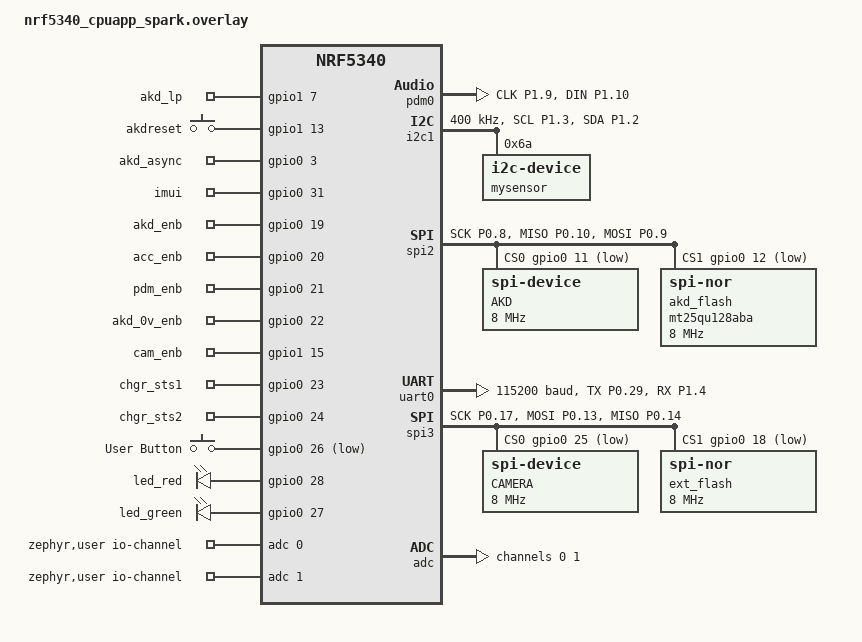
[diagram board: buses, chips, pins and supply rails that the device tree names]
&qspi {
    status = "disabled";
};
/* Disable default LEDs */
&led0 {
    status = "disabled";
};

&led1 {
    status = "disabled";
};

&led2 {
    status = "disabled";
};

&led3 {
    status = "disabled";
};

/* Disable default buttons */
&button0 {
    status = "disabled";
};

&button1 {
    status = "disabled";
};

&button2 {
    status = "disabled";
};

&button3 {
    status = "disabled";
};
&gpio_fwd {
    status = "disabled";
};

&pwm0 {
    status = "disabled";
};
&uicr {
    nfct-pins-as-gpios;
};
/* Disable the entire gpio-keys and leds nodes if needed */
/ {
    buttons {
        status = "disabled";
    };
    
    leds {
        status = "disabled";
    };
};
&pinctrl {
    spi2_default: spi2_default {
        group1 {
            psels = <NRF_PSEL(SPIM_SCK, 0, 8)>,
                    <NRF_PSEL(SPIM_MISO, 0, 10)>,
                    <NRF_PSEL(SPIM_MOSI, 0, 9)>;
                    /* ADD THIS - disable trace function on these pins */
                    nordic,drive-mode = <NRF_DRIVE_S0S1>;
        };
    };

    spi2_sleep: spi2_sleep {
        group1 {
            psels = <NRF_PSEL(SPIM_SCK, 0, 8)>,
                    <NRF_PSEL(SPIM_MISO, 0, 10)>,
                    <NRF_PSEL(SPIM_MOSI, 0, 9)>;
            low-power-enable;
        };
    };

	uart0_default_alt: uart0_default_alt {
      group1 {
         psels = <NRF_PSEL(UART_TX, 0, 29)>,
                 <NRF_PSEL(UART_RX, 1, 4)>;
      };
   };

   uart0_sleep_alt: uart0_sleep_alt {
      group1 {
         psels = <NRF_PSEL(UART_TX, 0, 29)>,
                 <NRF_PSEL(UART_RX, 1, 4)>;
         low-power-enable;
      };
   };	

   pdm0_default_alt: pdm0_default_alt {
		group1 {
			psels = <NRF_PSEL(PDM_CLK, 1, 9)>,
				    <NRF_PSEL(PDM_DIN, 1, 10)>;
		};
	};

    /omit-if-no-ref/ i2c1_default: i2c1_default {
		group1  {
			psels = <NRF_PSEL(TWIM_SCL, 1, 3)>,
					<NRF_PSEL(TWIM_SDA, 1, 2)>;
		};
	};

	/omit-if-no-ref/ i2c1_sleep: i2c1_sleep {
		group1  {
			psels = <NRF_PSEL(TWIM_SCL, 1, 3)>,
					<NRF_PSEL(TWIM_SDA, 1, 2)>;
			low-power-enable;
		};
	};
    spi3_default: spi3_default {
		group1 {
				psels = <NRF_PSEL(SPIM_SCK, 0, 17)>,
						<NRF_PSEL(SPIM_MOSI, 0, 13)>,
						<NRF_PSEL(SPIM_MISO, 0, 14)>;
		};
	};

	spi3_sleep: spi3_sleep {
		group1 {
				psels = <NRF_PSEL(SPIM_SCK, 0, 17)>,
						<NRF_PSEL(SPIM_MOSI, 0, 13)>,
						<NRF_PSEL(SPIM_MISO, 0, 14)>;
				low-power-enable;
		};
	};
	
};

/* PDM mic configurations */

&clock {
	hfclkaudio-frequency = <12288000>;
};

&pdm0 {
	status = "okay";
	clock-source = "ACLK";
};

dmic_dev: &pdm0 {
	status = "okay";
	pinctrl-0 = <&pdm0_default_alt>;
	pinctrl-names = "default";
	clock-source = "ACLK";
   
};
/ {
    chosen {
        nordic,pm-ext-flash = &ext_flash;
    };
};

&i2c1 {
    status = "okay";
    clock-frequency = <I2C_BITRATE_FAST>;   // 400 kHz
    pinctrl-0 = <&i2c1_default>;
	pinctrl-1 = <&i2c1_sleep>;
    pinctrl-names = "default", "sleep";
    mysensor: mysensor@6a{
        compatible = "i2c-device";
        status = "okay";
        reg = < 0x6a >;
    };
};


&ipc0 {
    status = "okay";
};


&spi2 {
    compatible = "nordic,nrf-spim";
    status = "okay";
    pinctrl-0 = <&spi2_default>;
    pinctrl-1 = <&spi2_sleep>;
    pinctrl-names = "default", "sleep";
    cs-gpios = <&gpio0 11 GPIO_ACTIVE_LOW>,  /* CS for AKIDA */
               <&gpio0 12 GPIO_ACTIVE_LOW>;  /* CS for AKIDA flash (CS pin for AKIDA flash changed to pin p0.12 according to schematic)*/

    /* camera device at index 0 */
    akd: akd@0 {
        compatible = "spi-device";
        reg = <0>;  /* Uses first CS pin (P0.11) */
        spi-max-frequency = <8000000>;
        label = "AKD";
    };

    /* mt25qu128aba Flash device at index 1 */
    akd_flash: mt25qu128aba@1 {        /* ← @1 to match reg = <1> */
        compatible = "jedec,spi-nor";
        reg = <1>;
        spi-max-frequency = <8000000>;
        size = <DT_SIZE_M(128)>;
        jedec-id = [20 bb 18];
        has-dpd;
        t-enter-dpd = <10000>;
        t-exit-dpd = <35000>;
    };
};

&uart0 {
   status = "okay";
   compatible = "nordic,nrf-uarte";
   current-speed = <115200>;
   pinctrl-0 = <&uart0_default_alt>;
   pinctrl-1 = <&uart0_sleep_alt>;
   pinctrl-names = "default", "sleep";
};

&spi3 {
    compatible = "nordic,nrf-spim";
    status = "okay";
    pinctrl-0 = <&spi3_default>;
    pinctrl-1 = <&spi3_sleep>;
    pinctrl-names = "default", "sleep";
    cs-gpios = <&gpio0 25 GPIO_ACTIVE_LOW>,
               <&gpio0 18 GPIO_ACTIVE_LOW>;  /* CS for NRF flash */

    /* camera device at index 0 */
    camera: camera@0 {
        compatible = "spi-device";
        reg = <0>;  /* Uses first CS pin (P0.25) */
        spi-max-frequency = <8000000>;
        label = "CAMERA";
    };
    /* NRF Flash device at index 1 mt25qu128aba*/
    ext_flash: flash@0 {
        compatible = "jedec,spi-nor";
        reg = <1>;
        spi-max-frequency = <8000000>;
        size = <DT_SIZE_M(128)>;
        jedec-id = [20 bb 18];
        has-dpd;
        t-enter-dpd = <10000>;
        t-exit-dpd = <35000>;
    };
};
/ {
    aliases {
        watchdog = &wdt;
    };
};

/ {
    gpios {
		compatible = "gpio-keys";
		akd_lp: akd_lp {
			gpios = <&gpio1 7 GPIO_ACTIVE_HIGH>;
		};

        akdreset: akdreset {
			gpios = <&gpio1 13 GPIO_ACTIVE_HIGH>;
		};

        akd_async: akd_async {
            gpios = <&gpio0 3 GPIO_ACTIVE_HIGH>;
        };
	
        imui: imui {
			gpios = <&gpio0 31 GPIO_ACTIVE_HIGH>;
		};
        akd_enb: akd_enb {
            gpios = <&gpio0 19 GPIO_ACTIVE_HIGH>;
        };
        acc_enb: acc_enb {
            gpios = <&gpio0 20 GPIO_ACTIVE_HIGH>;
        };
        pdm_enb: pdm_enb {
            gpios = <&gpio0 21 GPIO_ACTIVE_HIGH>;
        };
        akd_0v_enb: akd_0v_enb {
            gpios = <&gpio0 22 GPIO_ACTIVE_HIGH>;
        };
		cam_enb: cam_enb {
            gpios = <&gpio1 15 GPIO_ACTIVE_HIGH>;
        };
        chgr_sts1: chgr_sts1 {
            gpios = <&gpio0 23 GPIO_ACTIVE_HIGH>;
        };
        chgr_sts2: chgr_sts2 {
            gpios = <&gpio0 24 GPIO_ACTIVE_HIGH>;
        };
	};

        /* ---------- Buttons ---------- */
    custom_buttons {
        compatible = "gpio-keys";

        user_btn: user_btn {
            gpios = <&gpio0 26 (GPIO_PULL_UP | GPIO_ACTIVE_LOW)>;
            label = "User Button";
        };
    };

    custom_leds {
        compatible = "gpio-leds";

        led_red: led_red {
            gpios = <&gpio0 28 GPIO_ACTIVE_HIGH>;
        };

        led_green: led_green {
            gpios = <&gpio0 27 GPIO_ACTIVE_HIGH>;
        };
    };

    aliases {
        akd-lp = &akd_lp;
        akdreset = &akdreset;
        spi2 = &spi2;
        imui = &imui;
        akd-enb    = &akd_enb;
        acc-enb    = &acc_enb;
        pdm-enb    = &pdm_enb;
        akd-0v-enb = &akd_0v_enb;
        cam-enb = &cam_enb;
        user-button = &user_btn;
        akd-async  = &akd_async;
        chgr-sts1 = &chgr_sts1;
        chgr-sts2 = &chgr_sts2;
    };
};
/ {
    zephyr,user {
        /* Two ADC channels — index 0 = 1V8 rail, index 1 = 0V8 rail */
        io-channels = <&adc 0>, <&adc 1>;
    };
};

&adc {
    status = "okay";
    #address-cells = <1>;
    #size-cells = <0>;

    /* CH0: 1V8_AKD rail — AIN0 = P0.04 */
    channel@0 {
        reg = <0>;
        zephyr,gain              = "ADC_GAIN_1_3";
        zephyr,reference         = "ADC_REF_INTERNAL";
        zephyr,acquisition-time  = <ADC_ACQ_TIME_DEFAULT>;
        zephyr,input-positive    = <NRF_SAADC_AIN0>;
        zephyr,resolution        = <12>;
        /* NO oversampling — nRF SAADC only supports it for single channel */
    };

    /* CH1: 0V8_AKD rail — AIN1 = P0.05 */
    channel@1 {
        reg = <1>;
        zephyr,gain              = "ADC_GAIN_1_3";
        zephyr,reference         = "ADC_REF_INTERNAL";
        zephyr,acquisition-time  = <ADC_ACQ_TIME_DEFAULT>;
        zephyr,input-positive    = <NRF_SAADC_AIN1>;
        zephyr,resolution        = <12>;
        /* NO oversampling — nRF SAADC only supports it for single channel */
    };
};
